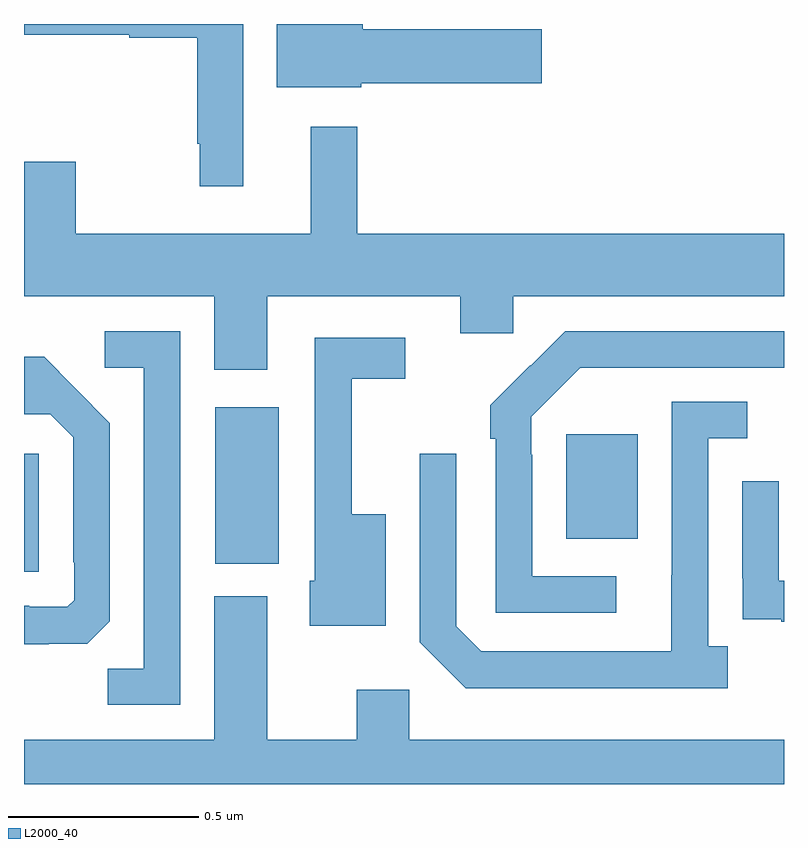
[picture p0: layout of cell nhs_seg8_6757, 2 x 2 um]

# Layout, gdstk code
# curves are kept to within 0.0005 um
import gdstk
lib = gdstk.Library(unit=1e-6, precision=1e-09)
def R(c, l, rs):  # rectangles x0, y0, x1, y1
    for r in rs: c.add(gdstk.rectangle(r[:2], r[2:], *l))
def P(c, l, *ps):  # polygons
    for p in ps: c.add(gdstk.Polygon(p, *l))
L2000_40 = (2000, 40)

nhs_seg8_6757 = lib.new_cell('nhs_seg8_6757')
R(nhs_seg8_6757, L2000_40, [(201,1098.459,201.039,1098.769), (201.503,1098.479,201.67,1098.892), (202.427,1098.545,202.615,1098.82)])
P(nhs_seg8_6757, L2000_40, [(201.577,1099.9),(201,1099.9),(201,1099.872),(201.277,1099.872),(201.277,1099.864),(201.456,1099.864),(201.456,1099.585),(201.463,1099.585),(201.463,1099.473),(201.577,1099.473)],
  [(201.888,1099.744),(202.363,1099.744),(202.363,1099.886),(201.892,1099.886),(201.892,1099.9),(201.665,1099.9),(201.665,1099.733),(201.888,1099.733)],
  [(201.64,1099.184),(202.148,1099.184),(202.148,1099.086),(202.287,1099.086),(202.287,1099.184),(203,1099.184),(203,1099.348),(201.877,1099.348),(201.877,1099.63),(201.755,1099.63),(201.755,1099.348),(201.136,1099.348),(201.136,1099.537),(201,1099.537),(201,1099.184),(201.5,1099.184),(201.5,1098.99),(201.64,1098.99)],
  [(201.411,1099.092),(201.213,1099.092),(201.213,1098.996),(201.315,1098.996),(201.315,1098.203),(201.22,1098.203),(201.22,1098.108),(201.411,1098.108)],
  [(202.558,1098.447),(202.338,1098.447),(202.338,1098.767),(202.335,1098.767),(202.335,1098.867),(202.464,1098.996),(203,1098.996),(203,1099.092),(202.424,1099.092),(202.333,1099.001),(202.332,1099.002),(202.227,1098.897),(202.227,1098.809),(202.242,1098.809),(202.242,1098.351),(202.558,1098.351)],
  [(201.952,1098.61),(201.863,1098.61),(201.863,1098.966),(202.003,1098.966),(202.003,1099.074),(201.765,1099.074),(201.765,1098.435),(201.752,1098.435),(201.752,1098.317),(201.952,1098.317)],
  [(201.065,1098.269),(201.166,1098.269),(201.225,1098.328),(201.225,1098.85),(201.053,1099.024),(201,1099.024),(201,1098.873),(201.069,1098.873),(201.129,1098.813),(201.129,1098.484),(201.132,1098.484),(201.132,1098.384),(201.114,1098.366),(201.014,1098.366),(201.014,1098.369),(201,1098.369),(201,1098.268),(201.065,1098.268)],
  [(202.852,1098.262),(202.8,1098.262),(202.8,1098.81),(202.903,1098.81),(202.903,1098.906),(202.704,1098.906),(202.704,1098.449),(202.703,1098.449),(202.703,1098.249),(202.203,1098.249),(202.137,1098.315),(202.137,1098.769),(202.041,1098.769),(202.041,1098.273),(202.162,1098.152),(202.852,1098.152)],
  [(203,1098.435),(202.986,1098.435),(202.986,1098.697),(202.89,1098.697),(202.89,1098.442),(202.891,1098.442),(202.891,1098.333),(202.993,1098.333),(202.993,1098.327),(203,1098.327)],
  [(203,1098.016),(202.014,1098.016),(202.014,1098.148),(201.875,1098.148),(201.875,1098.016),(201.64,1098.016),(201.64,1098.394),(201.5,1098.394),(201.5,1098.016),(201,1098.016),(201,1097.9),(203,1097.9)])

lib.write_gds('nhs_seg8_6757.gds')
